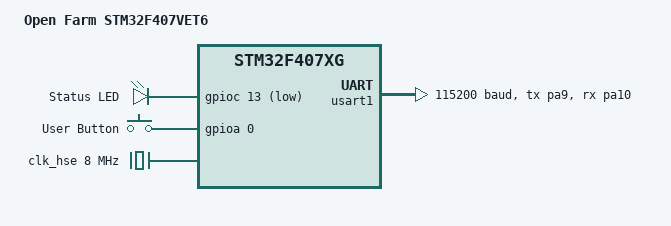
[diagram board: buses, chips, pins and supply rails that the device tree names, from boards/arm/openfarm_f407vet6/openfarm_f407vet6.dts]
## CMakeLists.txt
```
cmake_minimum_required(VERSION 3.20.0)

find_package(Zephyr REQUIRED HINTS $ENV{ZEPHYR_BASE})
project(open_farm_firmware)

target_sources(app PRIVATE
    src/main.c
    src/services/system/system_service.c
)

target_include_directories(app PRIVATE
    src
)
```

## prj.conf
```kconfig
CONFIG_SERIAL=y
CONFIG_CONSOLE=y
CONFIG_UART_CONSOLE=y

CONFIG_LOG=y
CONFIG_LOG_BACKEND_UART=y
CONFIG_LOG_MODE_DEFERRED=y
CONFIG_LOG_DEFAULT_LEVEL=3

CONFIG_PRINTK=y
```

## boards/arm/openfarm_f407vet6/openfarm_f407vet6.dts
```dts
/dts-v1/;
#include <st/f4/stm32f407Xg.dtsi>
#include <st/f4/stm32f407v(e-g)tx-pinctrl.dtsi>

/ {
    model = "Open Farm STM32F407VET6";
    compatible = "open_farm,open-farm-f407vet6";

    chosen {
        zephyr,console = &usart1;
        zephyr,shell-uart = &usart1;
        zephyr,sram = &sram0;
        zephyr,flash = &flash0;
    };

    aliases {
        led0 = &status_led;
        sw0 = &user_button;
    };

    leds {
        compatible = "gpio-leds";

        status_led: status_led {
            gpios = <&gpioc 13 GPIO_ACTIVE_LOW>;
            label = "Status LED";
        };
    };

    buttons {
        compatible = "gpio-keys";

        user_button: user_button {
            gpios = <&gpioa 0 GPIO_ACTIVE_HIGH>;
            label = "User Button";
        };
    };
};

&clk_hse {
    clock-frequency = <8000000>;
    status = "okay";
};

&pll {
    div-m = <8>;
    mul-n = <336>;
    div-p = <2>;
    div-q = <7>;
    clocks = <&clk_hse>;
    status = "okay";
};

&rcc {
    clocks = <&pll>;
    clock-frequency = <168000000>;
    ahb-prescaler = <1>;
    apb1-prescaler = <4>;
    apb2-prescaler = <2>;
};

&usart1 {
    pinctrl-0 = <&usart1_tx_pa9 &usart1_rx_pa10>;
    pinctrl-names = "default";
    current-speed = <115200>;
    status = "okay";
};

&gpioa {
    status = "okay";
};

&gpioc {
    status = "okay";
};
```

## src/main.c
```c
#include <zephyr/kernel.h>
#include <zephyr/logging/log.h>

#include "services/system/system_service.h"

LOG_MODULE_REGISTER(main, LOG_LEVEL_INF);

int main(void)
{
    LOG_INF("==================================");
    LOG_INF("Open Farm Foundation");
    LOG_INF("Firmware boot");
    LOG_INF("Board: %s", CONFIG_BOARD);
    LOG_INF("==================================");

    int ret = system_service_start();

    if (ret != 0) {
        LOG_ERR("System failed to start: %d", ret);
        return ret;
    }

    LOG_INF("Application is running");

    while (1) {
        k_sleep(K_SECONDS(1));
    }

    return 0;
}
```
